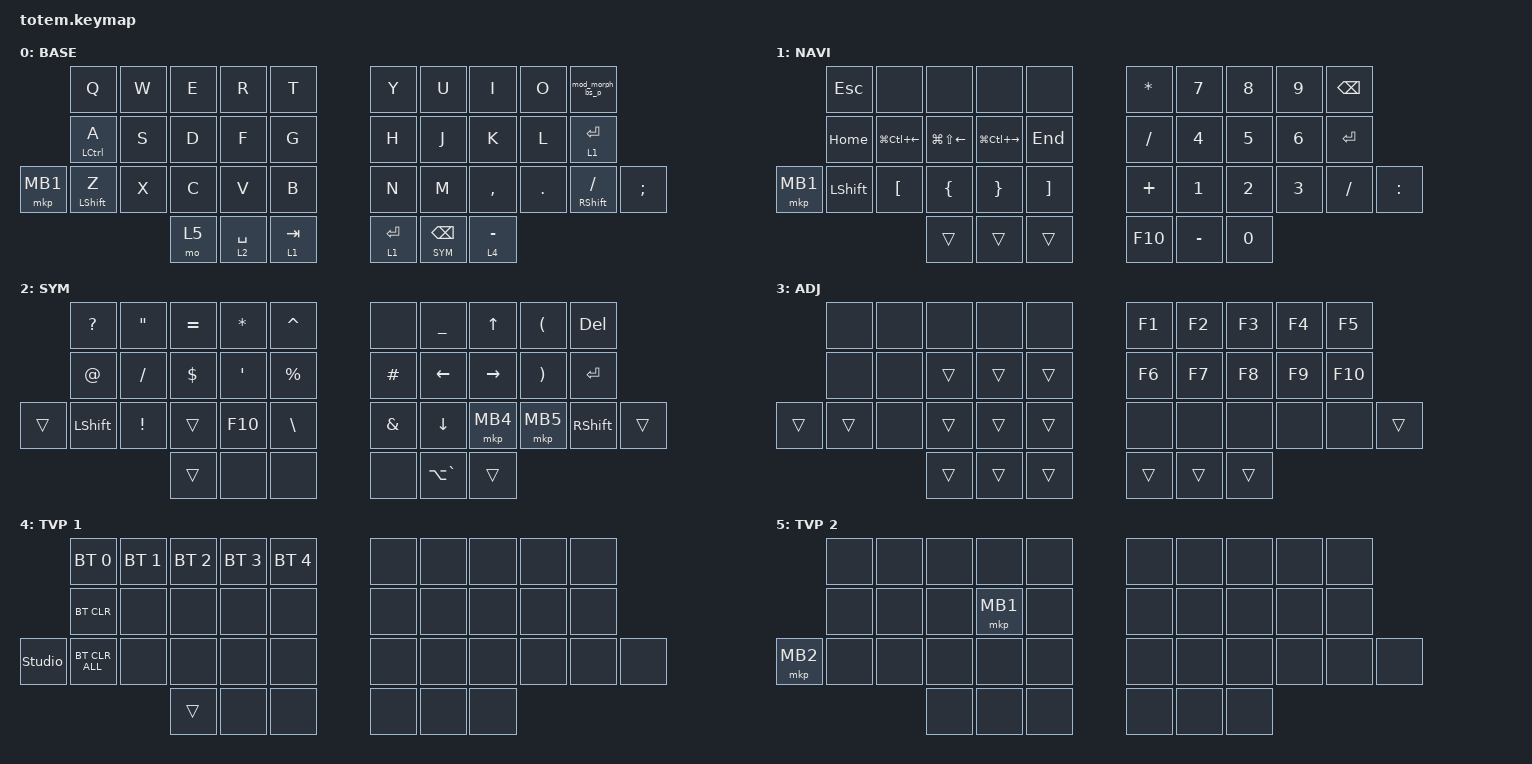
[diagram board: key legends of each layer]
//
//                                                        ▀▀▀▀▀     ▀▀▀▀▀          ▀▀█▀▀
//                                                        ▄▀▀▀▄  ▄  ▄▀▀▀▄  ▄  ▄▀▀▀▄  █  ▄▀▀▀▄
//                                                        █   █  █  █   █  █  █   █  █  █   █
//                                                         ▀▀▀   █   ▀▀▀   █   ▀▀▀   ▀   ▀▀▀
//                                                               █      ▄▄▄█▄▄▄    █   █  
//                                                               ▀      █  █  █     █▄█
//                                                             ▀▀▀▀▀    █  █  █      ▀
//                                                                      ▀  ▀  ▀
//
// ▄▄▄▄▄▄▄▄▄▄▄▄▄▄▄▄▄▄▄▄▄▄▄▄▄▄▄▄▄▄▄▄▄▄▄▄▄▄▄▄▄▄▄▄▄▄▄▄▄▄▄▄▄▄▄▄▄▄▄▄▄▄▄▄▄▄▄▄▄▄▄▄▄▄▄▄▄▄▄▄▄▄▄▄▄▄▄▄▄▄▄▄▄▄▄▄▄▄▄▄▄▄▄▄▄▄▄▄▄▄▄▄▄▄▄▄▄▄▄▄▄▄▄▄▄▄▄▄▄▄▄▄▄▄▄▄▄▄▄▄▄▄▄▄▄▄▄▄▄

#include <behaviors.dtsi>
#include <dt-bindings/zmk/bt.h>
#include <dt-bindings/zmk/keys.h>
#include <dt-bindings/zmk/pointing.h>

#define BASE 0
#define NAV  1
#define SYM  2
#define ADJ  3
#define TVP1 4
#define TVP2 5

&mt {
    quick-tap-ms = <100>;
    global-quick-tap;
    flavor = "tap-preferred";
    tapping-term-ms = <170>;
};

/ {
    combos {
        compatible = "zmk,combos";

        combo_esc {
            timeout-ms = <50>;
            key-positions = <0 1>;
            bindings = <&kp ESC>;
        };

        combo_num {
            timeout-ms = <100>;
            key-positions = <24 33>;
            bindings = <&tog 1>;
        };

        combo_function {
            bindings = <&tog 3>;
            key-positions = <33 13>;
            timeout-ms = <100>;
        };

        p {
            bindings = <&kp P>;
            key-positions = <9 8>;
        };

        q {
            bindings = <&kp Q>;
            key-positions = <0 1>;
        };

        us_kana {
            bindings = <&kp RA(GRAVE)>;
            key-positions = <18 11>;
        };

        dot {
            bindings = <&kp DOT>;
            key-positions = <37 29>;
        };

        equal {
            bindings = <&kp EQUAL>;
            key-positions = <37 30>;
        };

        control {
            bindings = <&kp RCTRL>;
            key-positions = <17 18>;
        };

        command {
            bindings = <&kp RIGHT_GUI>;
            key-positions = <17 16>;
        };
    };

    macros {
        gif: gif {
            label = "giphy";
            compatible = "zmk,behavior-macro";
            #binding-cells = <0>;
            bindings =
                <&macro_press>,
                <&kp LSHFT>,
                <&macro_tap>,
                <&kp N2>,
                <&macro_release>,
                <&kp LSHFT>,
                <&macro_tap>,
                <&kp G &kp I &kp F>;
        };
    };

    mod_morph_esc_q: mod-morph_esc_q {
        compatible = "zmk,behavior-mod-morph";
        label = "mod-morph_esc_q";
        bindings = <&kp ESCAPE>, <&kp Q>;

        #binding-cells = <0>;
        mods = <(MOD_RSFT)>;
    };

    mod_morph_bs_p: mod-morph_bs_p {
        compatible = "zmk,behavior-mod-morph";
        label = "MOD-MORPH_BS_P";
        bindings = <&kp BACKSPACE>, <&kp P>;

        #binding-cells = <0>;
        mods = <(MOD_LSFT)>;
    };

    // };

    behaviors {
    };

    keymap {
        compatible = "zmk,keymap";

        // ▄▄▄▄▄▄▄▄▄▄▄▄▄▄▄▄▄▄▄▄▄▄▄▄▄▄▄▄▄▄▄▄▄▄▄▄▄▄▄▄▄▄▄▄▄▄▄▄▄▄▄▄▄▄▄▄▄▄▄▄▄▄▄▄▄▄▄▄▄▄▄▄▄▄▄▄▄▄▄▄▄▄▄▄▄▄▄▄▄▄▄▄▄▄▄▄▄▄▄▄▄▄▄▄▄▄▄▄▄▄▄▄▄▄▄▄▄▄▄▄▄▄▄▄▄▄▄▄▄▄▄▄▄▄▄▄▄▄▄▄▄▄▄▄▄▄▄▄▄

        base_layer {
            // ┏━━━━━━━━━━━━━━━━━━━━━━━━━━━━━━━━━━━━━━━┓

            label = "BASE";

            // ┗━━━━━━━━━━━━━━━━━━━━━━━━━━━━━━━━━━━━━━━┛
            //             ┏━━━━━━━━━━━┳━━━━━━━━━━━┳━━━━━━━━━━━┳━━━━━━━━━━━┳━━━━━━━━━━━┓   ┏━━━━━━━━━━━┳━━━━━━━━━━━┳━━━━━━━━━━━┳━━━━━━━━━━━┳━━━━━━━━━━━┓
            //             ┃     Q     ┃     W     ┃     F     ┃     P     ┃     G     ┃   ┃     J     ┃     L     ┃     U     ┃     Y     ┃     ;     ┃
            //             ┣━━━━━━━━━━━╋━━━━━━━━━━━╋━━━━━━━━━━━╋━━━━━━━━━━━╋━━━━━━━━━━━┫   ┣━━━━━━━━━━━╋━━━━━━━━━━━╋━━━━━━━━━━━╋━━━━━━━━━━━╋━━━━━━━━━━━┫
            //             ┃     A     ┃     R     ┃     S     ┃     T     ┃     D     ┃   ┃     H     ┃     N     ┃     E     ┃     I     ┃     O     ┃
            // ┏━━━━━━━━━━━╋━━━━━━━━━━━╋━━━━━━━━━━━╋━━━━━━━━━━━╋━━━━━━━━━━━╋━━━━━━━━━━━┫   ┣━━━━━━━━━━━╋━━━━━━━━━━━╋━━━━━━━━━━━╋━━━━━━━━━━━╋━━━━━━━━━━━╋━━━━━━━━━━━┓
            // ┃     Q     ┃     Z     ┃     X     ┃     C     ┃     V     ┃     B     ┃   ┃     K     ┃     M     ┃     ,     ┃     .     ┃     /     ┃     \     ┃
            // ┗━━━━━━━━━━━┻━━━━━━━━━━━┻━━━━━━━━━━━╋━━━━━━━━━━━╋━━━━━━━━━━━╋━━━━━━━━━━━┫   ┣━━━━━━━━━━━╋━━━━━━━━━━━╋━━━━━━━━━━━╋━━━━━━━━━━━┻━━━━━━━━━━━┻━━━━━━━━━━━┛
            //                                     ┃    DEL    ┃    TAB    ┃    SPC    ┃   ┃   ENTER   ┃           ┃   BSPC    ┃
            //                                     ┗━━━━━━━━━━━┻━━━━━━━━━━━┻━━━━━━━━━━━┛   ┗━━━━━━━━━━━┻━━━━━━━━━━━┻━━━━━━━━━━━┛

            bindings = <
          &kp Q         &kp W  &kp E  &kp R        &kp T        &kp Y        &kp U              &kp I        &kp O    &mod_morph_bs_p
          &mt LCTRL A   &kp S  &kp D  &kp F        &kp G        &kp H        &kp J              &kp K        &kp L    &lt 1 ENTER
&mkp MB1  &mt LSHIFT Z  &kp X  &kp C  &kp V        &kp B        &kp N        &kp M              &kp COMMA    &kp DOT  &mt RIGHT_SHIFT SLASH  &kp SEMI
                               &mo 5  &lt 2 SPACE  &lt 1 TAB    &lt 1 ENTER  &lt SYM BACKSPACE  &lt 4 MINUS
            >;
        };

        // ▄▄▄▄▄▄▄▄▄▄▄▄▄▄▄▄▄▄▄▄▄▄▄▄▄▄▄▄▄▄▄▄▄▄▄▄▄▄▄▄▄▄▄▄▄▄▄▄▄▄▄▄▄▄▄▄▄▄▄▄▄▄▄▄▄▄▄▄▄▄▄▄▄▄▄▄▄▄▄▄▄▄▄▄▄▄▄▄▄▄▄▄▄▄▄▄▄▄▄▄▄▄▄▄▄▄▄▄▄▄▄▄▄▄▄▄▄▄▄▄▄▄▄▄▄▄▄▄▄▄▄▄▄▄▄▄▄▄▄▄▄▄▄▄▄▄▄▄▄

        nav_layer {
            // ┏━━━━━━━━━━━━━━━━━━━━━━━━━━━━━━━━━━━━━━━┓

            label = "NAVI";

            // ┗━━━━━━━━━━━━━━━━━━━━━━━━━━━━━━━━━━━━━━━┛
            //             ┏━━━━━━━━━━━┳━━━━━━━━━━━┳━━━━━━━━━━━┳━━━━━━━━━━━┳━━━━━━━━━━━┓   ┏━━━━━━━━━━━┳━━━━━━━━━━━┳━━━━━━━━━━━┳━━━━━━━━━━━┳━━━━━━━━━━━┓
            //             ┃           ┃           ┃     UP    ┃           ┃     {     ┃   ┃     }     ┃     7     ┃     8     ┃     9     ┃     +     ┃
            //             ┣━━━━━━━━━━━╋━━━━━━━━━━━╋━━━━━━━━━━━╋━━━━━━━━━━━╋━━━━━━━━━━━┫   ┣━━━━━━━━━━━╋━━━━━━━━━━━╋━━━━━━━━━━━╋━━━━━━━━━━━╋━━━━━━━━━━━┫
            //             ┃   SHIFT   ┃   LEFT    ┃    DOWN   ┃   RIGHT   ┃     [     ┃   ┃     ]     ┃     4     ┃     5     ┃     6     ┃     -     ┃
            // ┏━━━━━━━━━━━╋━━━━━━━━━━━╋━━━━━━━━━━━╋━━━━━━━━━━━╋━━━━━━━━━━━╋━━━━━━━━━━━┫   ┣━━━━━━━━━━━╋━━━━━━━━━━━╋━━━━━━━━━━━╋━━━━━━━━━━━╋━━━━━━━━━━━╋━━━━━━━━━━━┓
            // ┃           ┃           ┃   P UP    ┃  C LOCK   ┃  P DOWN   ┃     (     ┃   ┃     )     ┃     1     ┃     2     ┃     3     ┃     *     ┃           ┃
            // ┗━━━━━━━━━━━┻━━━━━━━━━━━┻━━━━━━━━━━━╋━━━━━━━━━━━╋━━━━━━━━━━━╋━━━━━━━━━━━┫   ┣━━━━━━━━━━━╋━━━━━━━━━━━╋━━━━━━━━━━━╋━━━━━━━━━━━┻━━━━━━━━━━━┻━━━━━━━━━━━┛
            //                                     ┃           ┃    TAB    ┃    SPC    ┃   ┃    DEL    ┃     0     ┃           ┃
            //                                     ┗━━━━━━━━━━━┻━━━━━━━━━━━┻━━━━━━━━━━━┛   ┗━━━━━━━━━━━┻━━━━━━━━━━━┻━━━━━━━━━━━┛

            bindings = <
          &kp ESC         &none             &none             &none              &none                &kp ASTERISK  &kp N7        &kp N8        &kp N9        &kp BACKSPACE
          &kp HOME        &kp LG(LC(LEFT))  &kp LG(LS(LEFT))  &kp LG(LC(RIGHT))  &kp END              &kp SLASH     &kp NUMBER_4  &kp N5        &kp NUMBER_6  &kp ENTER
&mkp MB1  &kp LEFT_SHIFT  &kp LEFT_BRACKET  &kp LEFT_BRACE    &kp RIGHT_BRACE    &kp RIGHT_BRACKET    &kp PLUS      &kp NUMBER_1  &kp NUMBER_2  &kp NUMBER_3  &kp SLASH      &kp COLON
                                            &trans            &trans             &trans               &kp F10       &kp MINUS     &kp N0
            >;
        };

        // ▄▄▄▄▄▄▄▄▄▄▄▄▄▄▄▄▄▄▄▄▄▄▄▄▄▄▄▄▄▄▄▄▄▄▄▄▄▄▄▄▄▄▄▄▄▄▄▄▄▄▄▄▄▄▄▄▄▄▄▄▄▄▄▄▄▄▄▄▄▄▄▄▄▄▄▄▄▄▄▄▄▄▄▄▄▄▄▄▄▄▄▄▄▄▄▄▄▄▄▄▄▄▄▄▄▄▄▄▄▄▄▄▄▄▄▄▄▄▄▄▄▄▄▄▄▄▄▄▄▄▄▄▄▄▄▄▄▄▄▄▄▄▄▄▄▄▄▄▄

        sim_layer {
            // ┏━━━━━━━━━━━━━━━━━━━━━━━━━━━━━━━━━━━━━━━┓

            label = "SYM";

            // ┗━━━━━━━━━━━━━━━━━━━━━━━━━━━━━━━━━━━━━━━┛
            //             ┏━━━━━━━━━━━┳━━━━━━━━━━━┳━━━━━━━━━━━┳━━━━━━━━━━━┳━━━━━━━━━━━┓   ┏━━━━━━━━━━━┳━━━━━━━━━━━┳━━━━━━━━━━━┳━━━━━━━━━━━┳━━━━━━━━━━━┓
            //             ┃     !     ┃     @     ┃     #     ┃     $     ┃     %     ┃   ┃     ˆ     ┃     &     ┃     Ü     ┃     '     ┃     "     ┃
            //             ┣━━━━━━━━━━━╋━━━━━━━━━━━╋━━━━━━━━━━━╋━━━━━━━━━━━╋━━━━━━━━━━━┫   ┣━━━━━━━━━━━╋━━━━━━━━━━━╋━━━━━━━━━━━╋━━━━━━━━━━━╋━━━━━━━━━━━┫
            //             ┃     Ä     ┃           ┃    SZ     ┃           ┃           ┃   ┃   MUTE    ┃   YEN     ┃   EURO    ┃  POUND    ┃     Ö     ┃
            // ┏━━━━━━━━━━━╋━━━━━━━━━━━╋━━━━━━━━━━━╋━━━━━━━━━━━╋━━━━━━━━━━━╋━━━━━━━━━━━┫   ┣━━━━━━━━━━━╋━━━━━━━━━━━╋━━━━━━━━━━━╋━━━━━━━━━━━╋━━━━━━━━━━━╋━━━━━━━━━━━┓
            // ┃           ┃  EMAIL1   ┃  EMAIL2   ┃           ┃           ┃           ┃   ┃   VOL-    ┃   VOL+    ┃   LAST    ┃   NEXT    ┃     \     ┃           ┃
            // ┗━━━━━━━━━━━┻━━━━━━━━━━━┻━━━━━━━━━━━╋━━━━━━━━━━━╋━━━━━━━━━━━╋━━━━━━━━━━━┫   ┣━━━━━━━━━━━╋━━━━━━━━━━━╋━━━━━━━━━━━╋━━━━━━━━━━━┻━━━━━━━━━━━┻━━━━━━━━━━━┛
            //                                     ┃           ┃    GIF    ┃    ADJ    ┃   ┃           ┃           ┃           ┃
            //                                     ┗━━━━━━━━━━━┻━━━━━━━━━━━┻━━━━━━━━━━━┛   ┗━━━━━━━━━━━┻━━━━━━━━━━━┻━━━━━━━━━━━┛

            bindings = <
        &kp QUESTION  &kp DOUBLE_QUOTES  &kp EQUAL   &kp ASTERISK  &kp CARET        &none     &kp UNDER       &kp UP     &kp LEFT_PARENTHESIS   &kp DEL
        &kp AT_SIGN   &kp SLASH          &kp DOLLAR  &kp SQT       &kp PERCENT      &kp HASH  &kp LEFT_ARROW  &kp RIGHT  &kp RIGHT_PARENTHESIS  &kp ENTER
&trans  &kp LSHIFT    &kp EXCLAMATION    &trans      &kp F10       &kp BACKSLASH    &kp AMPS  &kp DOWN        &mkp MB4   &mkp MB5               &kp RIGHT_SHIFT  &trans
                                         &trans      &none         &none            &none     &kp LA(GRAVE)   &trans
            >;
        };

        // ▄▄▄▄▄▄▄▄▄▄▄▄▄▄▄▄▄▄▄▄▄▄▄▄▄▄▄▄▄▄▄▄▄▄▄▄▄▄▄▄▄▄▄▄▄▄▄▄▄▄▄▄▄▄▄▄▄▄▄▄▄▄▄▄▄▄▄▄▄▄▄▄▄▄▄▄▄▄▄▄▄▄▄▄▄▄▄▄▄▄▄▄▄▄▄▄▄▄▄▄▄▄▄▄▄▄▄▄▄▄▄▄▄▄▄▄▄▄▄▄▄▄▄▄▄▄▄▄▄▄▄▄▄▄▄▄▄▄▄▄▄▄▄▄▄▄▄▄▄

        adjust_layer {
            // ┏━━━━━━━━━━━━━━━━━━━━━━━━━━━━━━━━━━━━━━━┓

            label = "ADJ";

            // ┗━━━━━━━━━━━━━━━━━━━━━━━━━━━━━━━━━━━━━━━┛
            //             ┏━━━━━━━━━━━┳━━━━━━━━━━━┳━━━━━━━━━━━┳━━━━━━━━━━━┳━━━━━━━━━━━┓   ┏━━━━━━━━━━━┳━━━━━━━━━━━┳━━━━━━━━━━━┳━━━━━━━━━━━┳━━━━━━━━━━━┓
            //             ┃   RESET   ┃ BT CLEAR  ┃  OUT TOG  ┃           ┃           ┃   ┃           ┃    F7     ┃    F8     ┃    F9     ┃    F12    ┃
            //             ┣━━━━━━━━━━━╋━━━━━━━━━━━╋━━━━━━━━━━━╋━━━━━━━━━━━╋━━━━━━━━━━━┫   ┣━━━━━━━━━━━╋━━━━━━━━━━━╋━━━━━━━━━━━╋━━━━━━━━━━━╋━━━━━━━━━━━┫
            //             ┃ BOOTLOAD  ┃ BT NEXT   ┃           ┃           ┃           ┃   ┃           ┃    F4     ┃    F5     ┃    F6     ┃    F11    ┃
            // ┏━━━━━━━━━━━╋━━━━━━━━━━━╋━━━━━━━━━━━╋━━━━━━━━━━━╋━━━━━━━━━━━╋━━━━━━━━━━━┫   ┣━━━━━━━━━━━╋━━━━━━━━━━━╋━━━━━━━━━━━╋━━━━━━━━━━━╋━━━━━━━━━━━╋━━━━━━━━━━━┓
            // ┃           ┃           ┃ BT PREV   ┃           ┃           ┃           ┃   ┃           ┃    F1     ┃    F2     ┃    F3     ┃    F10    ┃           ┃
            // ┗━━━━━━━━━━━┻━━━━━━━━━━━┻━━━━━━━━━━━╋━━━━━━━━━━━╋━━━━━━━━━━━╋━━━━━━━━━━━┫   ┣━━━━━━━━━━━╋━━━━━━━━━━━╋━━━━━━━━━━━╋━━━━━━━━━━━┻━━━━━━━━━━━┻━━━━━━━━━━━┛
            //                                     ┃           ┃           ┃           ┃   ┃           ┃           ┃           ┃
            //                                     ┗━━━━━━━━━━━┻━━━━━━━━━━━┻━━━━━━━━━━━┛   ┗━━━━━━━━━━━┻━━━━━━━━━━━┻━━━━━━━━━━━┛

            bindings = <
        &none   &none  &none   &none   &none     &kp F1  &kp F2  &kp F3  &kp F4  &kp F5
        &none   &none  &trans  &trans  &trans    &kp F6  &kp F7  &kp F8  &kp F9  &kp F10
&trans  &trans  &none  &trans  &trans  &trans    &none   &none   &none   &none   &none    &trans
                       &trans  &trans  &trans    &trans  &trans  &trans
            >;
        };

        // ▄▄▄▄▄▄▄▄▄▄▄▄▄▄▄▄▄▄▄▄▄▄▄▄▄▄▄▄▄▄▄▄▄▄▄▄▄▄▄▄▄▄▄▄▄▄▄▄▄▄▄▄▄▄▄▄▄▄▄▄▄▄▄▄▄▄▄▄▄▄▄▄▄▄▄▄▄▄▄▄▄▄▄▄▄▄▄▄▄▄▄▄▄▄▄▄▄▄▄▄▄▄▄▄▄▄▄▄▄▄▄▄▄▄▄▄▄▄▄▄▄▄▄▄▄▄▄▄▄▄▄▄▄▄▄▄▄▄▄▄▄▄▄▄▄▄▄▄▄

        tvp1_layer {
            // ┏━━━━━━━━━━━━━━━━━━━━━━━━━━━━━━━━━━━━━━━┓

            label = "TVP 1";

            // ┗━━━━━━━━━━━━━━━━━━━━━━━━━━━━━━━━━━━━━━━┛
            //             ┏━━━━━━━━━━━┳━━━━━━━━━━━┳━━━━━━━━━━━┳━━━━━━━━━━━┳━━━━━━━━━━━┓   ┏━━━━━━━━━━━┳━━━━━━━━━━━┳━━━━━━━━━━━┳━━━━━━━━━━━┳━━━━━━━━━━━┓
            //             ┃ NEXT FILE ┃ MARK IN   ┃ ROTATE    ┃ MARK OUT  ┃ SHOW SNAP ┃   ┃           ┃           ┃           ┃           ┃           ┃
            //             ┣━━━━━━━━━━━╋━━━━━━━━━━━╋━━━━━━━━━━━╋━━━━━━━━━━━╋━━━━━━━━━━━┫   ┣━━━━━━━━━━━╋━━━━━━━━━━━╋━━━━━━━━━━━╋━━━━━━━━━━━╋━━━━━━━━━━━┫
            //             ┃ TVP II    ┃ LEFT      ┃ PAN       ┃ RIGHT     ┃ PLAY/FLIP ┃   ┃           ┃           ┃           ┃           ┃           ┃
            // ┏━━━━━━━━━━━╋━━━━━━━━━━━╋━━━━━━━━━━━╋━━━━━━━━━━━╋━━━━━━━━━━━╋━━━━━━━━━━━┫   ┣━━━━━━━━━━━╋━━━━━━━━━━━╋━━━━━━━━━━━╋━━━━━━━━━━━╋━━━━━━━━━━━╋━━━━━━━━━━━┓
            // ┃ FULLSCR   ┃ SHIFT     ┃ COPY      ┃ DELETE    ┃ PASTE     ┃ IMG MARK  ┃   ┃           ┃           ┃           ┃           ┃           ┃           ┃
            // ┗━━━━━━━━━━━┻━━━━━━━━━━━┻━━━━━━━━━━━╋━━━━━━━━━━━╋━━━━━━━━━━━╋━━━━━━━━━━━┫   ┣━━━━━━━━━━━╋━━━━━━━━━━━╋━━━━━━━━━━━╋━━━━━━━━━━━┻━━━━━━━━━━━┻━━━━━━━━━━━┛
            //                                     ┃           ┃ UNDO/SAVE ┃  SEL/MOV  ┃   ┃           ┃           ┃           ┃
            //                                     ┗━━━━━━━━━━━┻━━━━━━━━━━━┻━━━━━━━━━━━┛   ┗━━━━━━━━━━━┻━━━━━━━━━━━┻━━━━━━━━━━━┛

            bindings = <
                &bt BT_SEL 0    &bt BT_SEL 1  &bt BT_SEL 2  &bt BT_SEL 3  &bt BT_SEL 4    &none  &none  &none  &none  &none
                &bt BT_CLR      &none         &none         &none         &none           &none  &none  &none  &none  &none
&studio_unlock  &bt BT_CLR_ALL  &none         &none         &none         &none           &none  &none  &none  &none  &none  &none
                                              &trans        &none         &none           &none  &none  &none
            >;
        };

        // ▄▄▄▄▄▄▄▄▄▄▄▄▄▄▄▄▄▄▄▄▄▄▄▄▄▄▄▄▄▄▄▄▄▄▄▄▄▄▄▄▄▄▄▄▄▄▄▄▄▄▄▄▄▄▄▄▄▄▄▄▄▄▄▄▄▄▄▄▄▄▄▄▄▄▄▄▄▄▄▄▄▄▄▄▄▄▄▄▄▄▄▄▄▄▄▄▄▄▄▄▄▄▄▄▄▄▄▄▄▄▄▄▄▄▄▄▄▄▄▄▄▄▄▄▄▄▄▄▄▄▄▄▄▄▄▄▄▄▄▄▄▄▄▄▄▄▄▄▄

        tvp2_layer {
            // ┏━━━━━━━━━━━━━━━━━━━━━━━━━━━━━━━━━━━━━━━┓

            label = "TVP 2";

            // ┗━━━━━━━━━━━━━━━━━━━━━━━━━━━━━━━━━━━━━━━┛
            //             ┏━━━━━━━━━━━┳━━━━━━━━━━━┳━━━━━━━━━━━┳━━━━━━━━━━━┳━━━━━━━━━━━┓   ┏━━━━━━━━━━━┳━━━━━━━━━━━┳━━━━━━━━━━━┳━━━━━━━━━━━┳━━━━━━━━━━━┓
            //             ┃ SOLO      ┃ TOGGLE IN ┃ RESET ROT ┃ TOGGLE OUT┃ TAKE SNAP ┃   ┃           ┃           ┃           ┃           ┃           ┃
            //             ┣━━━━━━━━━━━╋━━━━━━━━━━━╋━━━━━━━━━━━╋━━━━━━━━━━━╋━━━━━━━━━━━┫   ┣━━━━━━━━━━━╋━━━━━━━━━━━╋━━━━━━━━━━━╋━━━━━━━━━━━╋━━━━━━━━━━━┫
            //             ┃ ---       ┃ LAST KEY  ┃ NEW KEY   ┃ NEXT KEY  ┃ ENTER     ┃   ┃           ┃           ┃           ┃           ┃           ┃
            // ┏━━━━━━━━━━━╋━━━━━━━━━━━╋━━━━━━━━━━━╋━━━━━━━━━━━╋━━━━━━━━━━━╋━━━━━━━━━━━┫   ┣━━━━━━━━━━━╋━━━━━━━━━━━╋━━━━━━━━━━━╋━━━━━━━━━━━╋━━━━━━━━━━━╋━━━━━━━━━━━┓
            // ┃           ┃ FULLSCR   ┃ CPY2BRUSH ┃ DEL HEAD  ┃ PSTinPLACE┃ BOOK MARK ┃   ┃           ┃           ┃           ┃           ┃           ┃           ┃
            // ┗━━━━━━━━━━━┻━━━━━━━━━━━┻━━━━━━━━━━━╋━━━━━━━━━━━╋━━━━━━━━━━━╋━━━━━━━━━━━┫   ┣━━━━━━━━━━━╋━━━━━━━━━━━╋━━━━━━━━━━━╋━━━━━━━━━━━┻━━━━━━━━━━━┻━━━━━━━━━━━┛
            //                                     ┃           ┃ REDO/SAV1 ┃TRANS/WARP ┃   ┃           ┃           ┃           ┃
            //                                     ┗━━━━━━━━━━━┻━━━━━━━━━━━┻━━━━━━━━━━━┛   ┗━━━━━━━━━━━┻━━━━━━━━━━━┻━━━━━━━━━━━┛

            bindings = <
          &none  &none  &none  &none     &none    &none  &none  &none  &none  &none
          &none  &none  &none  &mkp MB1  &none    &none  &none  &none  &none  &none
&mkp MB2  &none  &none  &none  &none     &none    &none  &none  &none  &none  &none  &none
                        &none  &none     &none    &none  &none  &none
            >;
        };
    };
};
